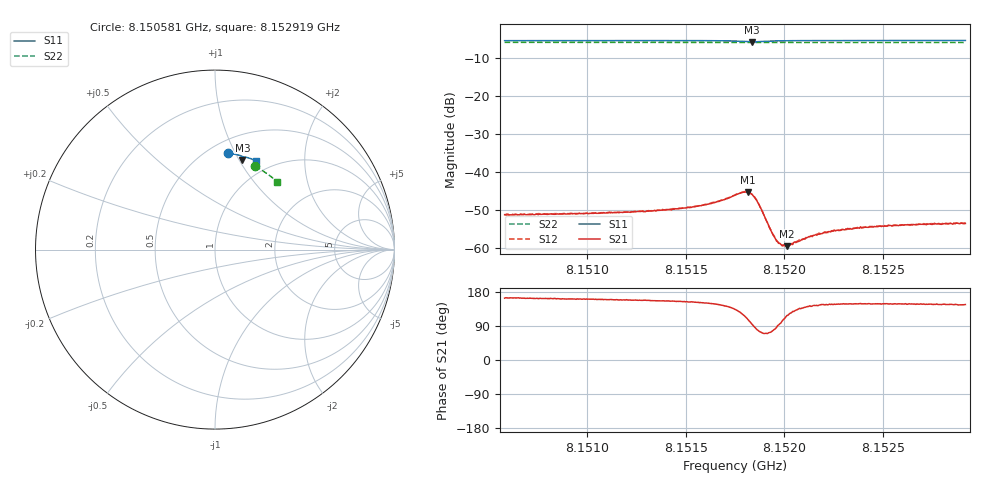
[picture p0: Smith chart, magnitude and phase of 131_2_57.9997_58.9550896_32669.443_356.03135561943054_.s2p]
#  HZ  S  RI  R  50.00
! Rohde & Schwarz Vector Network Analyzer
! Rohde-Schwarz,ZNB20-2Port,1311601062101988,3.16
! Created: UTC 3/21/2024, 12:56:07 AM
! freq[Hz]  re:S11  im:S11  re:S21  im:S21  re:S12  im:S12  re:S22  im:S22
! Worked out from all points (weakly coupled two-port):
!   401 points, 8.150581 GHz to 8.152919 GHz, reference 50 ohm
!   highest |S21| = -45.28 dB at 8.151815 GHz (marker M1); lowest = -59.6 dB at 8.152013 GHz (marker M2)
!   lowest |S11| = -5.6 dB at 8.151838 GHz (marker M3), VSWR 3.19, Z = 37.6 + j51.6 ohm
!   |S11| at or under -10 dB: nowhere
!   |S22| runs from -5.8 to -5.8 dB; largest |S21 - S12| = 0.00014
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8.1505814e9  0.073 0.5367  -0.00262 0.000784  -0.00261 0.000784  0.2234 0.4637
8.150973e9  0.1007 0.5329  -0.00267 0.00095  -0.00267 0.000984  0.2459 0.452
8.1513647e9  0.1287 0.5272  -0.00285 0.00126  -0.00286 0.00132  0.2674 0.4388
8.1515283e9  0.1411 0.5238  -0.00305 0.00152  -0.00305 0.00161  0.2761 0.4331
8.1515926e9  0.1464 0.5218  -0.0032 0.0018  -0.0032 0.00182  0.2796 0.4307
8.1516803e9  0.1541 0.5178  -0.00343 0.00242  -0.00343 0.00248  0.2844 0.4274
8.1517504e9  0.1598 0.511  -0.0034 0.00357  -0.00339 0.00367  0.2879 0.4245
8.1517914e9  0.1602 0.5043  -0.00267 0.0047  -0.00265 0.00477  0.2899 0.4229
8.1518147e9  0.1573 0.5006  -0.00165 0.00519  -0.00159 0.00523  0.2909 0.4219
8.1518381e9  0.1524 0.4997  -0.000323 0.00501  -0.000268 0.00504  0.2919 0.4213
8.1518557e9  0.1491 0.5016  0.000473 0.00437  0.000545 0.00439  0.2927 0.4207
8.1518732e9  0.1475 0.5047  0.000903 0.00355  0.000965 0.00353  0.2935 0.4201
8.1519316e9  0.1515 0.5132  0.00049 0.00164  0.000494 0.00165  0.2967 0.4182
8.1519609e9  0.1549 0.515  8.69e-05 0.00123  9.65e-05 0.00125  0.2984 0.4172
8.1519842e9  0.1577 0.5157  -0.00016 0.00109  -0.000203 0.0011  0.2996 0.4163
8.1520135e9  0.1609 0.516  -0.000479 0.000932  -0.000459 0.000963  0.301 0.4153
8.1521421e9  0.1725 0.5146  -0.00113 0.000875  -0.00109 0.000882  0.3076 0.4103
8.1521654e9  0.1744 0.5142  -0.00119 0.000858  -0.00123 0.000879  0.309 0.4093
8.1522531e9  0.1811 0.5123  -0.00143 0.000911  -0.00142 0.000947  0.3133 0.4058
8.1524109e9  0.1927 0.5089  -0.00159 0.000973  -0.00158 0.00102  0.3212 0.3993
8.1525337e9  0.201 0.5059  -0.00167 0.00104  -0.00168 0.00108  0.3272 0.3942
8.1529195e9  0.2266 0.4959  -0.00174 0.00116  -0.00178 0.00121  0.3454 0.3776
